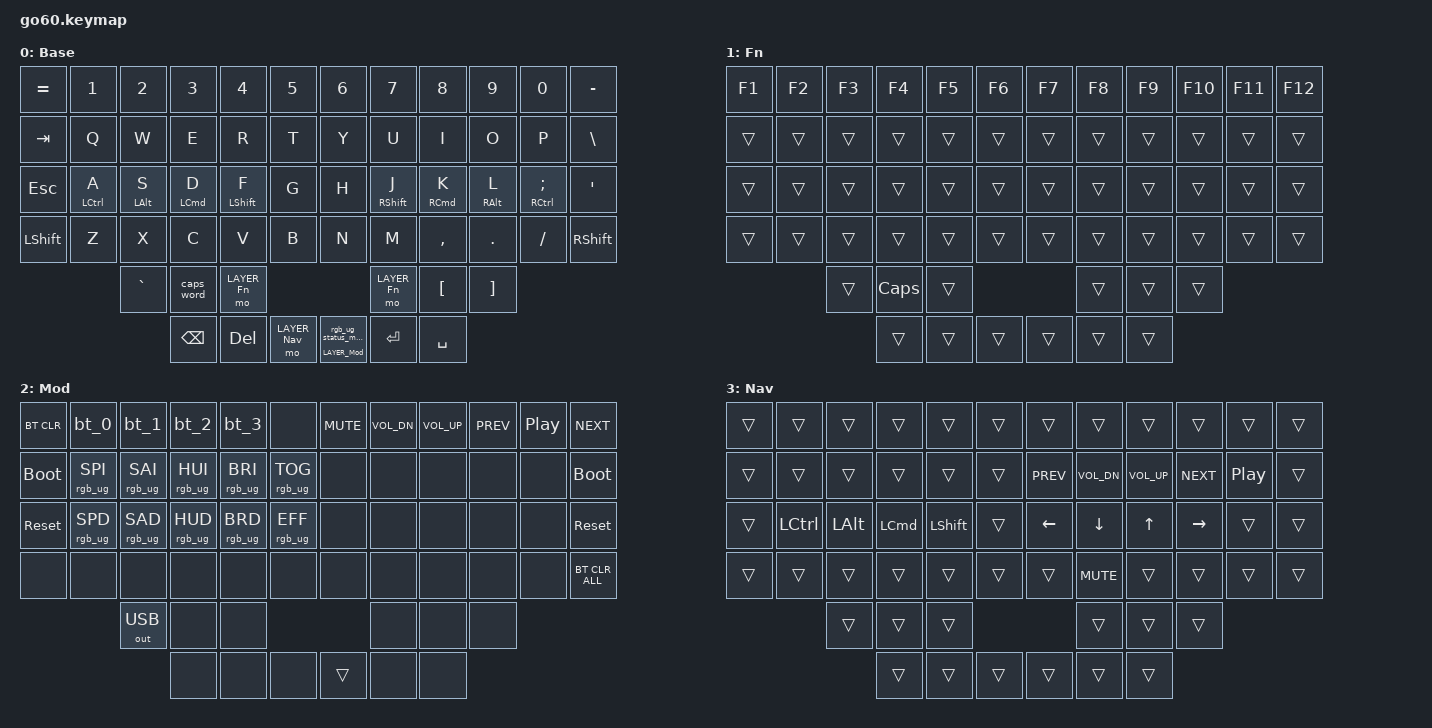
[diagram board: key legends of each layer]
/*
 * Copyright (c) 2020 The ZMK Contributors
 *
 * SPDX-License-Identifier: MIT
 */

#include <behaviors.dtsi>

#include <dt-bindings/zmk/bt.h>
#include <dt-bindings/zmk/ext_power.h>
#include <dt-bindings/zmk/keys.h>
#include <dt-bindings/zmk/outputs.h>
#include <dt-bindings/zmk/rgb.h>
#include <dt-bindings/zmk/input_transform.h>
#include <dt-bindings/zmk/pointing.h>

#include <input/processors.dtsi>
#include <zephyr/dt-bindings/input/input-event-codes.h>

#define LAYER_Base 0
#define LAYER_Fn 1
#define LAYER_Mod 2
#define LAYER_Nav 3

/ {
    input_processors {
        zip_click_to_right_click_mapper: zip_click_to_right_click_mapper {
            compatible = "zmk,input-processor-code-mapper";
            #input-processor-cells = <0>;
            type = <INPUT_EV_KEY>;
            map = <INPUT_BTN_0 INPUT_BTN_1>;
        };
    };

    behaviors {
        hml: left-hand-homerowmods {
            compatible = "zmk,behavior-hold-tap";
            #binding-cells = <2>;
            tapping-term-ms = <250>;
            flavor = "balanced";
            bindings = <&kp>, <&kp>;

            hold-trigger-on-release;
            quick-tap-ms = <175>;
            require-prior-idle-ms = <200>;
            hold-trigger-key-positions = <6 7 8 9 10 11 18 19 20 21 22 23 30 31 32 33 34 35 42 43 44 45 46 47 51 52 53 54 55 56 57 58 59>;
        };

        hmr: right-hand-homerowmods {
            compatible = "zmk,behavior-hold-tap";
            #binding-cells = <2>;
            tapping-term-ms = <250>;
            flavor = "balanced";
            bindings = <&kp>, <&kp>;

            hold-trigger-on-release;
            quick-tap-ms = <175>;
            require-prior-idle-ms = <200>;
            hold-trigger-key-positions = <0 1 2 3 4 5 12 13 14 15 16 17 24 25 26 27 28 29 36 37 38 39 40 41 48 49 50 54 55 56 57 58 59>;
        };

        magic: magic {
            compatible = "zmk,behavior-hold-tap";
            #binding-cells = <2>;
            flavor = "tap-preferred";
            tapping-term-ms = <200>;
            bindings = <&mo>, <&rgb_ug_status_macro>;
        };

        bt_0: bt_0 {
            compatible = "zmk,behavior-tap-dance";
            #binding-cells = <0>;
            tapping-term-ms = <200>;
            bindings = <&bt_select_0>, <&bt BT_DISC 0>;
        };
        bt_1: bt_1 {
            compatible = "zmk,behavior-tap-dance";
            #binding-cells = <0>;
            tapping-term-ms = <200>;
            bindings = <&bt_select_1>, <&bt BT_DISC 1>;
        };
        bt_2: bt_2 {
            compatible = "zmk,behavior-tap-dance";
            #binding-cells = <0>;
            tapping-term-ms = <200>;
            bindings = <&bt_select_2>, <&bt BT_DISC 2>;
        };
        bt_3: bt_3 {
            compatible = "zmk,behavior-tap-dance";
            #binding-cells = <0>;
            tapping-term-ms = <200>;
            bindings = <&bt_select_3>, <&bt BT_DISC 3>;
        };
    };

    macros {
        rgb_ug_status_macro: rgb_ug_status_macro {
            compatible = "zmk,behavior-macro";
            #binding-cells = <0>;
            bindings = <&rgb_ug RGB_STATUS>;
        };

        bt_select_0: bt_select_0 {
            compatible = "zmk,behavior-macro";
            #binding-cells = <0>;
            bindings
                = <&out OUT_BLE>,
                  <&bt BT_SEL 0>;
        };
        bt_select_1: bt_select_1 {
            compatible = "zmk,behavior-macro";
            #binding-cells = <0>;
            bindings
                = <&out OUT_BLE>,
                  <&bt BT_SEL 1>;
        };
        bt_select_2: bt_select_2 {
            compatible = "zmk,behavior-macro";
            #binding-cells = <0>;
            bindings
                = <&out OUT_BLE>,
                  <&bt BT_SEL 2>;
        };
        bt_select_3: bt_select_3 {
            compatible = "zmk,behavior-macro";
            #binding-cells = <0>;
            bindings
                = <&out OUT_BLE>,
                  <&bt BT_SEL 3>;
        };
    };

    keymap {
        compatible = "zmk,keymap";

        layer_Base {
            display-name = "Base";
            bindings = <
 &kp EQUAL  &kp N1                &kp N2           &kp N3                &kp N4    &kp N5                     &kp N6    &kp N7    &kp N8                 &kp N9            &kp N0                    &kp MINUS
 &kp TAB    &kp Q                 &kp W            &kp E                 &kp R     &kp T                      &kp Y     &kp U     &kp I                  &kp O             &kp P                     &kp BSLH
 &kp ESC    &hml LEFT_CONTROL A   &hml LEFT_ALT S  &hml LEFT_COMMAND D   &hml LEFT_SHIFT F &kp G                      &kp H     &hmr RIGHT_SHIFT J  &hmr RIGHT_COMMAND K   &hmr RIGHT_ALT L  &hmr RIGHT_CONTROL SEMI   &kp SQT
 &kp LSHFT  &kp Z                 &kp X            &kp C                 &kp V     &kp B                      &kp N     &kp M     &kp COMMA              &kp DOT           &kp FSLH                  &kp RSHFT
                                  &kp GRAVE        &caps_word            &mo LAYER_Fn                                   &mo LAYER_Fn  &kp LBKT       &kp RBKT
                                                           &kp BSPC  &kp DEL  &mo LAYER_Nav       &magic LAYER_Mod 0  &kp RET  &kp SPACE
            >;
        };

        layer_Fn {
            display-name = "Fn";
            bindings = <
 &kp F1  &kp F2  &kp F3  &kp F4  &kp F5  &kp F6          &kp F7  &kp F8  &kp F9  &kp F10  &kp F11  &kp F12
 &trans  &trans  &trans  &trans  &trans  &trans          &trans  &trans  &trans  &trans   &trans   &trans
 &trans  &trans  &trans  &trans  &trans  &trans          &trans  &trans  &trans  &trans   &trans   &trans
 &trans  &trans  &trans  &trans  &trans  &trans          &trans  &trans  &trans  &trans   &trans   &trans
                 &trans  &kp CAPS &trans                         &trans  &trans  &trans
                         &trans  &trans  &trans          &trans  &trans  &trans
            >;
        };

        layer_Mod {
            display-name = "Mod";
            bindings = <
 &bt BT_CLR   &bt_0            &bt_1            &bt_2            &bt_3            &none                  &kp C_MUTE  &kp C_VOL_DN  &kp C_VOL_UP  &kp C_PREV  &kp C_PP  &kp C_NEXT
 &bootloader  &rgb_ug RGB_SPI  &rgb_ug RGB_SAI  &rgb_ug RGB_HUI  &rgb_ug RGB_BRI  &rgb_ug RGB_TOG        &none       &none         &none         &none       &none     &bootloader
 &sys_reset   &rgb_ug RGB_SPD  &rgb_ug RGB_SAD  &rgb_ug RGB_HUD  &rgb_ug RGB_BRD  &rgb_ug RGB_EFF        &none       &none         &none         &none       &none     &sys_reset
 &none        &none            &none            &none            &none            &none                  &none       &none         &none         &none       &none     &bt BT_CLR_ALL
                               &out OUT_USB     &none            &none                                               &none         &none         &none
                                                         &none   &none   &none                   &trans  &none  &none
            >;
        };

        layer_Nav {
            display-name = "Nav";
            bindings = <
 &trans  &trans     &trans    &trans    &trans     &trans          &trans    &trans    &trans  &trans     &trans  &trans
 &trans  &trans     &trans    &trans    &trans     &trans          &kp C_PREV  &kp C_VOL_DN  &kp C_VOL_UP  &kp C_NEXT  &kp C_PP  &trans
 &trans  &kp LCTRL  &kp LALT  &kp LCMD  &kp LSHFT  &trans          &kp LEFT  &kp DOWN  &kp UP  &kp RIGHT  &trans  &trans
 &trans  &trans     &trans    &trans    &trans     &trans          &trans    &kp C_MUTE  &trans  &trans     &trans  &trans
                    &trans    &trans    &trans                               &trans    &trans  &trans
                              &trans    &trans     &trans          &trans    &trans    &trans
            >;
        };
    };
};

&cirque_rh_listener {
    input-processors = <&zip_xy_scaler 3 1>;
    nav {
        layers = <LAYER_Nav>;
        input-processors = <&zip_xy_scaler 9 1>;
    };
};

&cirque_lh_listener {
    input-processors = <&zip_xy_to_scroll_mapper>, <&zip_scroll_scaler 1 8>, <&zip_click_to_right_click_mapper>;
};
